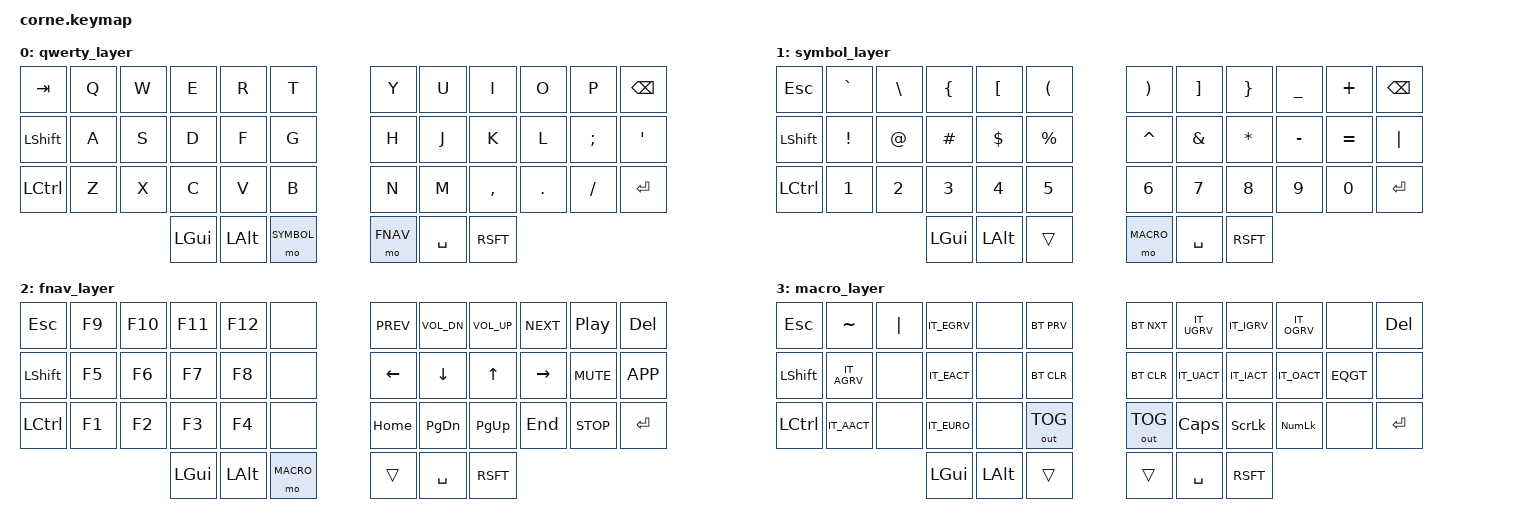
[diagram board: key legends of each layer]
#include <behaviors.dtsi>
#include <dt-bindings/zmk/keys.h>
#include <dt-bindings/zmk/bt.h>
#include <dt-bindings/zmk/outputs.h>

#define QWERTY 0
#define SYMBOL 1
#define FNAV 2
#define MACRO 3

#define C_VOLU C_VOL_UP
#define C_VOLD C_VOL_DN

/ {
    macros {
        // Acute accents
        ZMK_MACRO(IT_AACT,
            bindings
                = <&macro_press   &kp LALT>
                , <&macro_tap     &kp KP_N0 &kp KP_N2 &kp KP_N2 &kp KP_N5>
                , <&macro_release &kp LALT>;
        )
        ZMK_MACRO(IT_EACT,
            bindings
                = <&macro_press   &kp LALT>
                , <&macro_tap     &kp KP_N0 &kp KP_N2 &kp KP_N3 &kp KP_N3>
                , <&macro_release &kp LALT>;
        )
        ZMK_MACRO(IT_IACT,
            bindings
                = <&macro_press   &kp LALT>
                , <&macro_tap     &kp KP_N0 &kp KP_N2 &kp KP_N3 &kp KP_N7>
                , <&macro_release &kp LALT>;
        )
        ZMK_MACRO(IT_OACT,
            bindings
                = <&macro_press   &kp LALT>
                , <&macro_tap     &kp KP_N0 &kp KP_N2 &kp KP_N4 &kp KP_N3>
                , <&macro_release &kp LALT>;
        )
        ZMK_MACRO(IT_UACT,
            bindings
                = <&macro_press   &kp LALT>
                , <&macro_tap     &kp KP_N0 &kp KP_N2 &kp KP_N5 &kp KP_N0>
                , <&macro_release &kp LALT>;
        )

        // Grave accents
        ZMK_MACRO(IT_AGRV,
            bindings
                = <&macro_press   &kp LALT>
                , <&macro_tap     &kp KP_N0 &kp KP_N2 &kp KP_N2 &kp KP_N4>
                , <&macro_release &kp LALT>;
        )
        ZMK_MACRO(IT_EGRV,
            bindings
                = <&macro_press   &kp LALT>
                , <&macro_tap     &kp KP_N0 &kp KP_N2 &kp KP_N3 &kp KP_N2>
                , <&macro_release &kp LALT>;
        )
        ZMK_MACRO(IT_IGRV,
            bindings
                = <&macro_press   &kp LALT>
                , <&macro_tap     &kp KP_N0 &kp KP_N2 &kp KP_N3 &kp KP_N6>
                , <&macro_release &kp LALT>;
        )
        ZMK_MACRO(IT_OGRV,
            bindings
                = <&macro_press   &kp LALT>
                , <&macro_tap     &kp KP_N0 &kp KP_N2 &kp KP_N4 &kp KP_N2>
                , <&macro_release &kp LALT>;
        )
        ZMK_MACRO(IT_UGRV,
            bindings
                = <&macro_press   &kp LALT>
                , <&macro_tap     &kp KP_N0 &kp KP_N2 &kp KP_N4 &kp KP_N9>
                , <&macro_release &kp LALT>;
        )

        // Euro symbol
        ZMK_MACRO(IT_EURO,
            bindings
                = <&macro_press   &kp LALT>
                , <&macro_tap     &kp KP_N0 &kp KP_N1 &kp KP_N2 &kp KP_N8>
                , <&macro_release &kp LALT>;
        )

        // Arrow macros (e.g. =>)
        ZMK_MACRO(LTEQ,
            bindings = <&kp LT &kp EQUAL>;
        )
        ZMK_MACRO(EQLT,
            bindings = <&kp EQUAL &kp LT>;
        )
        ZMK_MACRO(GTEQ,
            bindings = <&kp GT &kp EQUAL>;
        )
        ZMK_MACRO(EQGT,
            bindings = <&kp EQUAL &kp GT>;
        )
    };
    // combos {
    //     compatible = "zmk,combos";
    //     combo_esc {
    //         timeout-ms = <40>;
    //         key-positions = <15 16>;
    //         bindings = <&kp ESC>;
    //     };
    //     combo_bspc {
    //         timeout-ms = <40>;
    //         key-positions = <19 20>;
    //         layers = <0 1>;
    //         bindings = <&kp BSPC>;
    //     };
    //     combo_del {
    //         timeout-ms = <40>;
    //         key-positions = <19 20>;
    //         layers = <2 3>;
    //         bindings = <&kp DEL>;
    //     };
    // };
    keymap {
        compatible = "zmk,keymap";
        qwerty_layer {
            bindings = <
    //,-----------------------------------------------------------------.                        ,-----------------------------------------------------------------.
          &kp TAB      &kp Q      &kp W      &kp E      &kp R      &kp T                               &kp Y      &kp U      &kp I      &kp O      &kp P   &kp BSPC
    //|----------+----------+----------+----------+----------+----------|                        |----------+----------+----------+----------+----------+----------|
        &kp LSHFT      &kp A      &kp S      &kp D      &kp F      &kp G                               &kp H      &kp J      &kp K      &kp L   &kp SEMI    &kp SQT
    //|----------+----------+----------+----------+----------+----------|                        |----------+----------+----------+----------+----------+----------|
        &kp LCTRL      &kp Z      &kp X      &kp C      &kp V      &kp B                               &kp N      &kp M  &kp COMMA    &kp DOT   &kp FSLH    &kp RET
    //|----------+----------+----------+----------+----------+----------+----------|  |----------+----------+----------+----------+----------+----------+----------|
                                                     &kp LGUI   &kp LALT &mo SYMBOL      &mo FNAV  &kp SPACE   &kp RSFT
            >;                                  //`--------------------------------'  `--------------------------------'
        };
        symbol_layer {
            bindings = <
    //,-----------------------------------------------------------------.                        ,-----------------------------------------------------------------.
          &kp ESC  &kp GRAVE   &kp BSLH   &kp LBRC   &kp LBKT   &kp LPAR                            &kp RPAR   &kp RBKT   &kp RBRC  &kp UNDER   &kp PLUS   &kp BSPC
    //|----------+----------+----------+----------+----------+----------|                        |----------+----------+----------+----------+----------+----------|
        &kp LSHFT   &kp EXCL     &kp AT   &kp HASH   &kp DLLR  &kp PRCNT                           &kp CARET   &kp AMPS   &kp STAR  &kp MINUS  &kp EQUAL   &kp PIPE
    //|----------+----------+----------+----------+----------+----------|                        |----------+----------+----------+----------+----------+----------|
        &kp LCTRL     &kp N1     &kp N2     &kp N3     &kp N4     &kp N5                              &kp N6     &kp N7     &kp N8     &kp N9     &kp N0    &kp RET
    //|----------+----------+----------+----------+----------+----------+----------|  |----------+----------+----------+----------+----------+----------+----------|
                                                     &kp LGUI   &kp LALT     &trans     &mo MACRO  &kp SPACE   &kp RSFT
            >;                                  //`--------------------------------'  `--------------------------------'
        };
        fnav_layer {
            bindings = <
    //,-----------------------------------------------------------------.                        ,-----------------------------------------------------------------.
          &kp ESC     &kp F9    &kp F10    &kp F11    &kp F12      &none                          &kp C_PREV &kp C_VOLD &kp C_VOLU &kp C_NEXT   &kp C_PP    &kp DEL
    //|----------+----------+----------+----------+----------+----------|                        |----------+----------+----------+----------+----------+----------|
        &kp LSHFT     &kp F5     &kp F6     &kp F7     &kp F8      &none                            &kp LEFT   &kp DOWN     &kp UP  &kp RIGHT &kp C_MUTE  &kp K_APP
    //|----------+----------+----------+----------+----------+----------|                        |----------+----------+----------+----------+----------+----------|
        &kp LCTRL     &kp F1     &kp F2     &kp F3     &kp F4      &none                            &kp HOME  &kp PG_DN  &kp PG_UP    &kp END &kp C_STOP    &kp RET
    //|----------+----------+----------+----------+----------+----------+----------|  |----------+----------+----------+----------+----------+----------+----------|
                                                     &kp LGUI   &kp LALT  &mo MACRO        &trans  &kp SPACE   &kp RSFT
            >;                                  //`--------------------------------'  `--------------------------------'
        };
        macro_layer {
            bindings = <
    //,-----------------------------------------------------------------.                        ,-----------------------------------------------------------------.
          &kp ESC  &kp TILDE   &kp PIPE   &IT_EGRV   &none    &bt BT_PRV                          &bt BT_NXT   &IT_UGRV   &IT_IGRV   &IT_OGRV      &none    &kp DEL
    //|----------+----------+----------+----------+----------+----------|                        |----------+----------+----------+----------+----------+----------|
        &kp LSHFT   &IT_AGRV      &none   &IT_EACT   &none    &bt BT_CLR                          &bt BT_CLR   &IT_UACT   &IT_IACT   &IT_OACT      &EQGT      &none
    //|----------+----------+----------+----------+----------+----------|                        |----------+----------+----------+----------+----------+----------|
        &kp LCTRL   &IT_AACT      &none   &IT_EURO   &none    &out OUT_TOG                      &out OUT_TOG   &kp CAPS   &kp SLCK &kp KP_NUM      &none    &kp RET
    //|----------+----------+----------+----------+----------+----------+----------|  |----------+----------+----------+----------+----------+----------+----------|
                                                     &kp LGUI   &kp LALT     &trans        &trans  &kp SPACE   &kp RSFT
            >;                                  //`--------------------------------'  `--------------------------------'
        };
    };
};
